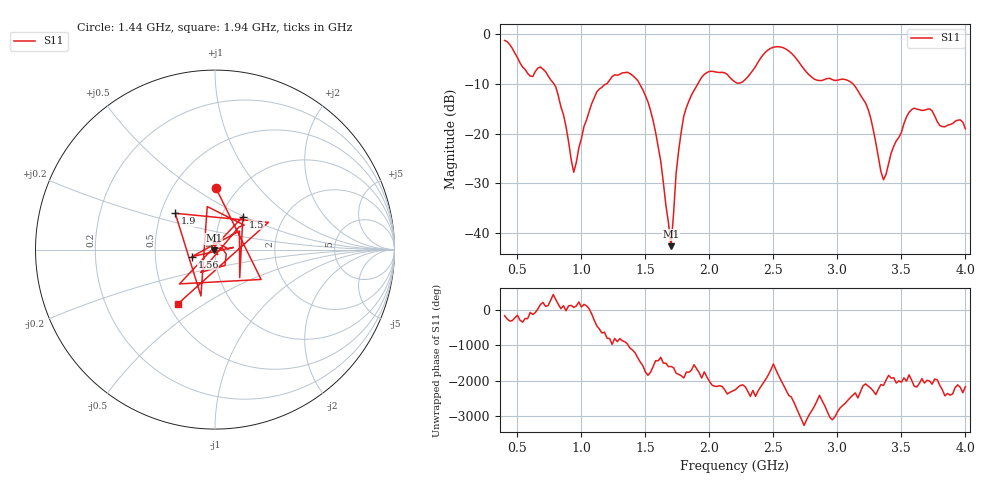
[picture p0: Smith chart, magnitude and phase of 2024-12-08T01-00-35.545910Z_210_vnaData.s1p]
!Created with skrf (http://scikit-rf.org).
# Hz S RI R 50.0
!freq ReS11 ImS11
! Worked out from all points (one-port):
!   181 points, 400 MHz to 4 GHz, reference 50 ohm
!   lowest |S11| = -42.6 dB at 1.7 GHz (marker M1), VSWR 1.01, Z = 49.3 - j0.28 ohm
!   |S11| at or under -10 dB: 784.5 MHz to 1.2 GHz (415.5 MHz wide, 41.9 % of centre); 1.454 GHz to 1.91 GHz (456 MHz wide, 27.1 % of centre); 3.121 GHz to end of sweep
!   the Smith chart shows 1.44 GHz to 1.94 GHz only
!   S11 on the Smith chart (normalised r, x): 1.44 GHz: 0.80, +0.62; 1.5 GHz: 1.26, +0.49; 1.56 GHz: 0.77, -0.06; 1.9 GHz: 0.59, +0.26; 1.94 GHz: 0.56, -0.39
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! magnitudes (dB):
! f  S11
! 400 MHz  -1.3
! 600 MHz  -8.5
! 720 MHz  -7.6
! 860 MHz  -16.2
! 940 MHz  -27.8
! 1.02 GHz  -18.6
! 1.12 GHz  -11.6
! 1.3 GHz  -8.1
! 1.44 GHz  -9.4
! 1.5 GHz  -12.4
! 1.56 GHz  -17.4
! 1.62 GHz  -25.6
! 1.7 GHz  -42.6
! 1.76 GHz  -23.4
! 1.8 GHz  -16.5
! 1.9 GHz  -10.5
! 1.94 GHz  -8.7
! 2.2 GHz  -9.6
! 2.48 GHz  -2.9
! 2.66 GHz  -4.4
! 2.82 GHz  -9.1
! 3.1 GHz  -9.6
! 3.24 GHz  -15.1
! 3.36 GHz  -29.3
! 3.56 GHz  -15.7
! 3.72 GHz  -15.0
! 3.8 GHz  -18.4
! 4 GHz  -19.0
